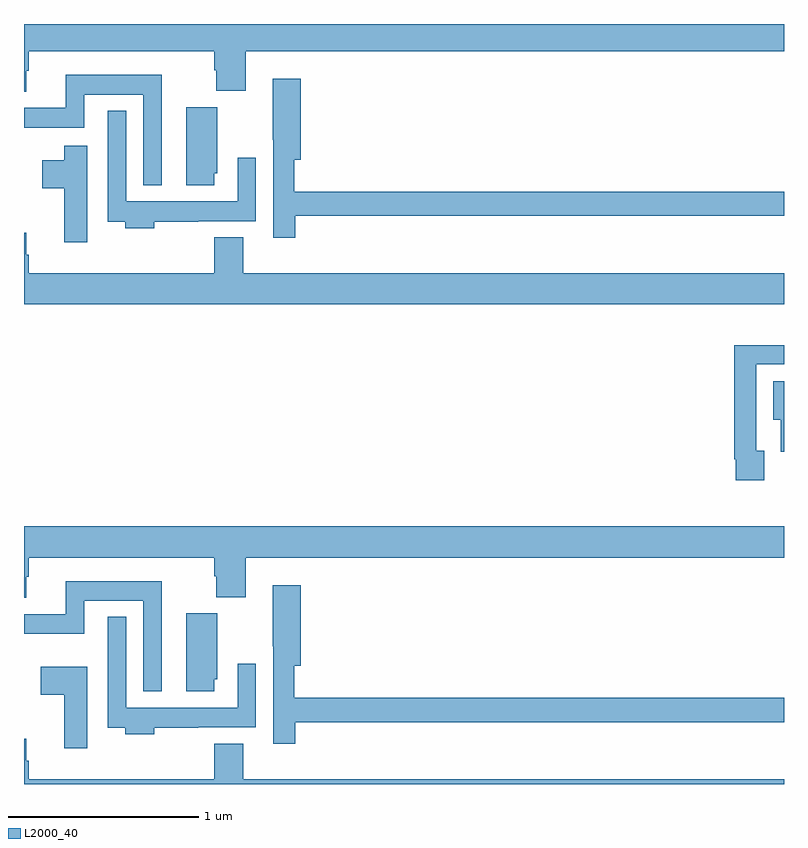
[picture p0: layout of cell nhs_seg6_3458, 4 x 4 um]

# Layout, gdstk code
import gdstk
lib = gdstk.Library(unit=1e-6, precision=1e-09)
def P(c, l, *ps):  # polygons
    for p in ps: c.add(gdstk.Polygon(p, *l))
L2000_40 = (2000, 40)

nhs_seg6_3458 = lib.new_cell('nhs_seg6_3458')
P(nhs_seg6_3458, L2000_40, [(315.013,927.255),(315.026,927.255),(315.026,927.356),(316.001,927.356),(316.001,927.257),(316.013,927.257),(316.013,927.148),(316.166,927.148),(316.166,927.356),(319,927.356),(319,927.5),(315,927.5),(315,927.143),(315.013,927.143)],
  [(315.724,927.232),(315.221,927.232),(315.221,927.058),(315,927.058),(315,926.954),(315.318,926.954),(315.318,927.128),(315.627,927.128),(315.627,926.651),(315.724,926.651)],
  [(316.427,926.49),(319,926.49),(319,926.618),(316.423,926.618),(316.423,926.786),(316.457,926.786),(316.457,927.211),(316.31,927.211),(316.31,926.89),(316.311,926.89),(316.311,926.376),(316.427,926.376)],
  [(316,926.715),(316.018,926.715),(316.018,927.063),(315.854,927.063),(315.854,926.652),(316,926.652)],
  [(315.686,926.46),(315.917,926.46),(315.917,926.462),(316.221,926.462),(316.221,926.797),(316.125,926.797),(316.125,926.566),(315.537,926.566),(315.537,927.043),(315.441,927.043),(315.441,926.46),(315.533,926.46),(315.533,926.426),(315.686,926.426)],
  [(315.334,926.86),(315.212,926.86),(315.212,926.782),(315.095,926.782),(315.095,926.635),(315.212,926.635),(315.212,926.352),(315.334,926.352)],
  [(319,926.188),(316.153,926.188),(316.153,926.377),(316.001,926.377),(316.001,926.188),(315.026,926.188),(315.026,926.286),(315.013,926.286),(315.013,926.401),(315,926.401),(315,926.024),(319,926.024)],
  [(318.895,925.254),(318.855,925.254),(318.855,925.71),(319,925.71),(319,925.808),(318.739,925.808),(318.739,925.21),(318.747,925.21),(318.747,925.098),(318.895,925.098)],
  [(319,925.621),(318.944,925.621),(318.944,925.418),(318.983,925.418),(318.983,925.25),(319,925.25)],
  [(315.013,924.591),(315.026,924.591),(315.026,924.692),(316.001,924.692),(316.001,924.593),(316.013,924.593),(316.013,924.484),(316.166,924.484),(316.166,924.692),(319,924.692),(319,924.856),(315,924.856),(315,924.479),(315.013,924.479)],
  [(315.724,924.568),(315.221,924.568),(315.221,924.394),(315,924.394),(315,924.29),(315.318,924.29),(315.318,924.464),(315.627,924.464),(315.627,923.987),(315.724,923.987)],
  [(316.427,923.826),(319,923.826),(319,923.954),(316.423,923.954),(316.423,924.122),(316.457,924.122),(316.457,924.547),(316.31,924.547),(316.31,924.226),(316.311,924.226),(316.311,923.712),(316.427,923.712)],
  [(316,924.051),(316.018,924.051),(316.018,924.399),(315.854,924.399),(315.854,923.988),(316,923.988)],
  [(315.686,923.796),(315.917,923.796),(315.917,923.798),(316.221,923.798),(316.221,924.133),(316.125,924.133),(316.125,923.902),(315.537,923.902),(315.537,924.379),(315.441,924.379),(315.441,923.796),(315.533,923.796),(315.533,923.762),(315.686,923.762)],
  [(315.334,924.118),(315.087,924.118),(315.087,923.971),(315.212,923.971),(315.212,923.688),(315.334,923.688)],
  [(319,923.524),(316.153,923.524),(316.153,923.713),(316.001,923.713),(316.001,923.524),(315.026,923.524),(315.026,923.622),(315.013,923.622),(315.013,923.737),(315,923.737),(315,923.5),(319,923.5)])

lib.write_gds('nhs_seg6_3458.gds')
